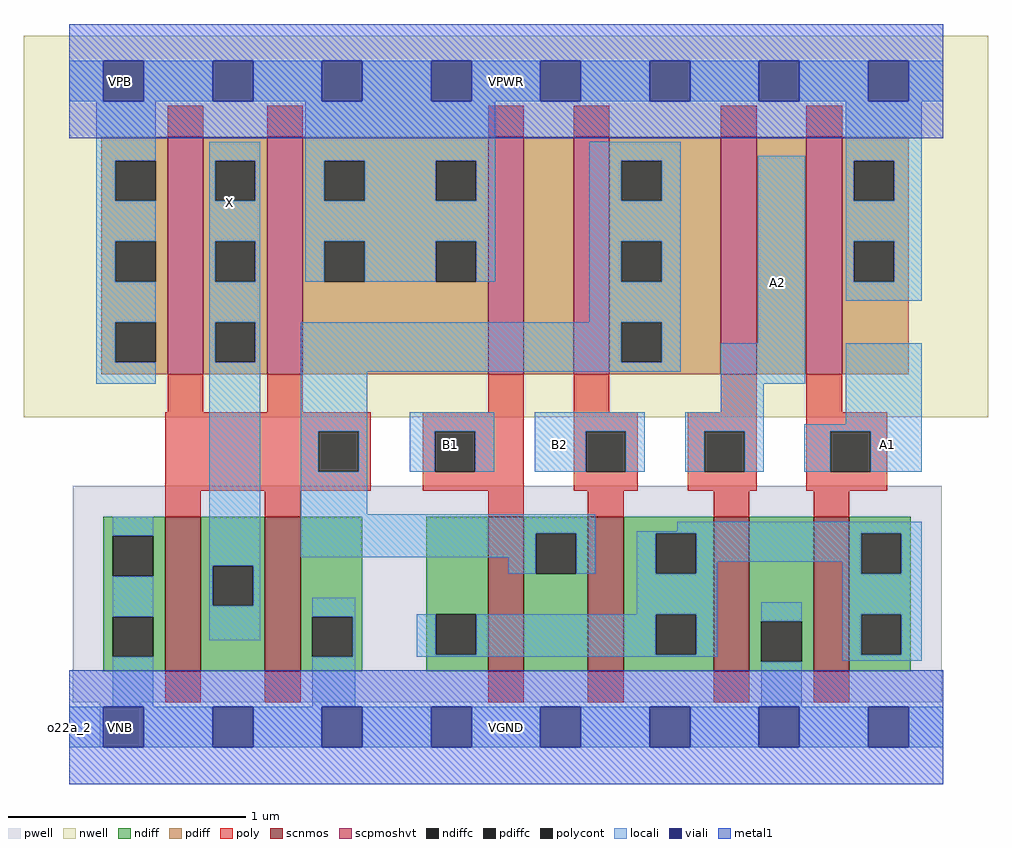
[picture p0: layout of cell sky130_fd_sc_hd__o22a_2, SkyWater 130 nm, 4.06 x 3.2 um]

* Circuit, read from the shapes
.subckt sky130_fd_sc_hd__o22a_2 A1 A2 B1 B2 VGND VNB VPB VPWR X
XM1 X n1 VGND VNB sky130_fd_pr__nfet_01v8 w=0.65 l=0.15 m=2
XM2 n1 B1 n2 VNB sky130_fd_pr__nfet_01v8 w=0.65 l=0.15
XM3 n2 B2 n1 VNB sky130_fd_pr__nfet_01v8 w=0.65 l=0.15
XM4 VGND A2 n2 VNB sky130_fd_pr__nfet_01v8 w=0.65 l=0.15
XM5 n2 A1 VGND VNB sky130_fd_pr__nfet_01v8 w=0.65 l=0.15
XM6 X n1 VPWR VPB sky130_fd_pr__pfet_01v8_hvt w=1 l=0.15 m=2
XM7 n3 B1 VPWR VPB sky130_fd_pr__pfet_01v8_hvt w=1 l=0.15
XM8 n1 B2 n3 VPB sky130_fd_pr__pfet_01v8_hvt w=1 l=0.15
XM9 n4 A2 n1 VPB sky130_fd_pr__pfet_01v8_hvt w=1 l=0.15
XM10 VPWR A1 n4 VPB sky130_fd_pr__pfet_01v8_hvt w=1 l=0.15
.ends

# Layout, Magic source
magic
tech sky130A
magscale 1 2
<< nwell >>
rect -38 261 774 582
<< pwell >>
rect 3 21 735 203
rect 26 -17 60 21
<< scnmos >>
rect 81 47 111 177
rect 165 47 195 177
rect 353 47 383 177
rect 437 47 467 177
rect 543 47 573 177
rect 627 47 657 177
<< scpmoshvt >>
rect 83 297 113 497
rect 167 297 197 497
rect 353 297 383 497
rect 425 297 455 497
rect 549 297 579 497
rect 621 297 651 497
<< ndiff >>
rect 29 161 81 177
rect 29 127 37 161
rect 71 127 81 161
rect 29 93 81 127
rect 29 59 37 93
rect 71 59 81 93
rect 29 47 81 59
rect 111 136 165 177
rect 111 102 121 136
rect 155 102 165 136
rect 111 47 165 102
rect 195 93 247 177
rect 195 59 205 93
rect 239 59 247 93
rect 195 47 247 59
rect 301 95 353 177
rect 301 61 309 95
rect 343 61 353 95
rect 301 47 353 61
rect 383 163 437 177
rect 383 129 393 163
rect 427 129 437 163
rect 383 47 437 129
rect 467 163 543 177
rect 467 129 494 163
rect 528 129 543 163
rect 467 95 543 129
rect 467 61 494 95
rect 528 61 543 95
rect 467 47 543 61
rect 573 89 627 177
rect 573 55 583 89
rect 617 55 627 89
rect 573 47 627 55
rect 657 163 709 177
rect 657 129 667 163
rect 701 129 709 163
rect 657 95 709 129
rect 657 61 667 95
rect 701 61 709 95
rect 657 47 709 61
<< pdiff >>
rect 27 477 83 497
rect 27 443 39 477
rect 73 443 83 477
rect 27 409 83 443
rect 27 375 39 409
rect 73 375 83 409
rect 27 341 83 375
rect 27 307 39 341
rect 73 307 83 341
rect 27 297 83 307
rect 113 477 167 497
rect 113 443 123 477
rect 157 443 167 477
rect 113 409 167 443
rect 113 375 123 409
rect 157 375 167 409
rect 113 341 167 375
rect 113 307 123 341
rect 157 307 167 341
rect 113 297 167 307
rect 197 477 353 497
rect 197 443 215 477
rect 249 443 309 477
rect 343 443 353 477
rect 197 409 353 443
rect 197 375 215 409
rect 249 375 309 409
rect 343 375 353 409
rect 197 297 353 375
rect 383 297 425 497
rect 455 477 549 497
rect 455 443 465 477
rect 499 443 549 477
rect 455 409 549 443
rect 455 375 465 409
rect 499 375 549 409
rect 455 341 549 375
rect 455 307 465 341
rect 499 307 549 341
rect 455 297 549 307
rect 579 297 621 497
rect 651 477 707 497
rect 651 443 661 477
rect 695 443 707 477
rect 651 409 707 443
rect 651 375 661 409
rect 695 375 707 409
rect 651 297 707 375
<< ndiffc >>
rect 37 127 71 161
rect 37 59 71 93
rect 121 102 155 136
rect 205 59 239 93
rect 309 61 343 95
rect 393 129 427 163
rect 494 129 528 163
rect 494 61 528 95
rect 583 55 617 89
rect 667 129 701 163
rect 667 61 701 95
<< pdiffc >>
rect 39 443 73 477
rect 39 375 73 409
rect 39 307 73 341
rect 123 443 157 477
rect 123 375 157 409
rect 123 307 157 341
rect 215 443 249 477
rect 309 443 343 477
rect 215 375 249 409
rect 309 375 343 409
rect 465 443 499 477
rect 465 375 499 409
rect 465 307 499 341
rect 661 443 695 477
rect 661 375 695 409
<< poly >>
rect 83 497 113 523
rect 167 497 197 523
rect 353 497 383 523
rect 425 497 455 523
rect 549 497 579 523
rect 621 497 651 523
rect 83 265 113 297
rect 167 265 197 297
rect 353 265 383 297
rect 81 249 254 265
rect 81 215 210 249
rect 244 215 254 249
rect 81 199 254 215
rect 298 249 383 265
rect 298 215 308 249
rect 342 215 383 249
rect 298 199 383 215
rect 425 265 455 297
rect 549 265 579 297
rect 425 249 479 265
rect 425 215 435 249
rect 469 215 479 249
rect 425 199 479 215
rect 521 249 579 265
rect 521 215 535 249
rect 569 215 579 249
rect 521 199 579 215
rect 621 265 651 297
rect 621 249 689 265
rect 621 215 641 249
rect 675 215 689 249
rect 621 199 689 215
rect 81 177 111 199
rect 165 177 195 199
rect 353 177 383 199
rect 437 177 467 199
rect 543 177 573 199
rect 627 177 657 199
rect 81 21 111 47
rect 165 21 195 47
rect 353 21 383 47
rect 437 21 467 47
rect 543 21 573 47
rect 627 21 657 47
<< polycont >>
rect 210 215 244 249
rect 308 215 342 249
rect 435 215 469 249
rect 535 215 569 249
rect 641 215 675 249
<< locali >>
rect 0 527 29 561
rect 63 527 121 561
rect 155 527 213 561
rect 247 527 305 561
rect 339 527 397 561
rect 431 527 489 561
rect 523 527 581 561
rect 615 527 673 561
rect 707 527 736 561
rect 23 477 73 527
rect 23 443 39 477
rect 23 409 73 443
rect 23 375 39 409
rect 23 341 73 375
rect 23 307 39 341
rect 23 289 73 307
rect 118 477 161 493
rect 118 443 123 477
rect 157 443 161 477
rect 118 409 161 443
rect 118 375 123 409
rect 157 375 161 409
rect 199 477 359 527
rect 199 443 215 477
rect 249 443 309 477
rect 343 443 359 477
rect 199 409 359 443
rect 199 375 215 409
rect 249 375 309 409
rect 343 375 359 409
rect 438 477 515 493
rect 438 443 465 477
rect 499 443 515 477
rect 438 409 515 443
rect 438 375 465 409
rect 499 375 515 409
rect 118 341 161 375
rect 438 341 515 375
rect 118 307 123 341
rect 157 307 161 341
rect 37 161 71 177
rect 37 93 71 127
rect 118 136 161 307
rect 195 307 465 341
rect 499 307 515 341
rect 580 323 620 481
rect 654 477 718 527
rect 654 443 661 477
rect 695 443 718 477
rect 654 409 718 443
rect 654 375 661 409
rect 695 375 718 409
rect 654 359 718 375
rect 195 299 515 307
rect 195 249 251 299
rect 549 289 620 323
rect 549 265 585 289
rect 195 215 210 249
rect 244 215 251 249
rect 287 249 358 265
rect 287 215 308 249
rect 342 215 358 249
rect 392 249 485 265
rect 392 215 435 249
rect 469 215 485 249
rect 519 249 585 265
rect 654 255 718 323
rect 519 215 535 249
rect 569 215 585 249
rect 619 249 718 255
rect 619 215 641 249
rect 675 215 718 249
rect 195 179 251 215
rect 195 163 443 179
rect 512 165 718 173
rect 195 143 393 163
rect 118 102 121 136
rect 155 102 161 136
rect 370 129 393 143
rect 427 129 443 163
rect 478 163 718 165
rect 478 129 494 163
rect 528 139 667 163
rect 528 129 546 139
rect 118 73 161 102
rect 205 93 241 109
rect 478 95 546 129
rect 651 129 667 139
rect 701 129 718 163
rect 37 17 71 59
rect 239 59 241 93
rect 293 61 309 95
rect 343 61 494 95
rect 528 61 546 95
rect 293 59 546 61
rect 583 89 617 105
rect 205 17 241 59
rect 651 95 718 129
rect 651 61 667 95
rect 701 61 718 95
rect 651 56 718 61
rect 583 17 617 55
rect 0 -17 29 17
rect 63 -17 121 17
rect 155 -17 213 17
rect 247 -17 305 17
rect 339 -17 397 17
rect 431 -17 489 17
rect 523 -17 581 17
rect 615 -17 673 17
rect 707 -17 736 17
<< viali >>
rect 29 527 63 561
rect 121 527 155 561
rect 213 527 247 561
rect 305 527 339 561
rect 397 527 431 561
rect 489 527 523 561
rect 581 527 615 561
rect 673 527 707 561
rect 29 -17 63 17
rect 121 -17 155 17
rect 213 -17 247 17
rect 305 -17 339 17
rect 397 -17 431 17
rect 489 -17 523 17
rect 581 -17 615 17
rect 673 -17 707 17
<< metal1 >>
rect 0 561 736 592
rect 0 527 29 561
rect 63 527 121 561
rect 155 527 213 561
rect 247 527 305 561
rect 339 527 397 561
rect 431 527 489 561
rect 523 527 581 561
rect 615 527 673 561
rect 707 527 736 561
rect 0 496 736 527
rect 0 17 736 48
rect 0 -17 29 17
rect 63 -17 121 17
rect 155 -17 213 17
rect 247 -17 305 17
rect 339 -17 397 17
rect 431 -17 489 17
rect 523 -17 581 17
rect 615 -17 673 17
rect 707 -17 736 17
rect 0 -48 736 -17
<< labels >>
flabel locali s 580 357 614 391 0 FreeSans 400 0 0 0 A2
port 2 nsew signal input
flabel locali s 118 425 152 459 0 FreeSans 400 0 0 0 X
port 9 nsew signal output
flabel locali s 304 221 338 255 0 FreeSans 400 0 0 0 B1
port 3 nsew signal input
flabel locali s 672 221 706 255 0 FreeSans 400 0 0 0 A1
port 1 nsew signal input
flabel locali s 396 221 430 255 0 FreeSans 400 0 0 0 B2
port 4 nsew signal input
flabel pwell s 26 -17 60 17 0 FreeSans 200 0 0 0 VNB
port 6 nsew ground bidirectional
flabel nwell s 26 527 60 561 0 FreeSans 200 0 0 0 VPB
port 7 nsew power bidirectional
flabel metal1 s 26 -17 60 17 0 FreeSans 200 0 0 0 VGND
port 5 nsew ground bidirectional abutment
flabel metal1 s 26 527 60 561 0 FreeSans 200 0 0 0 VPWR
port 8 nsew power bidirectional abutment
rlabel comment s 0 0 0 0 4 o22a_2
rlabel metal1 s 0 -48 736 48 1 VGND
port 5 nsew ground bidirectional abutment
rlabel metal1 s 0 496 736 592 1 VPWR
port 8 nsew power bidirectional abutment
<< properties >>
string FIXED_BBOX 0 0 736 544
string GDS_END 1360750
string GDS_FILE $PDKPATH/libs.ref/sky130_fd_sc_hd/gds/sky130_fd_sc_hd.gds
string GDS_START 1354156
string LEFclass CORE
string LEFsite unithd
string LEFsymmetry X Y R90
string path 0.000 0.000 3.680 0.000 
<< end >>
